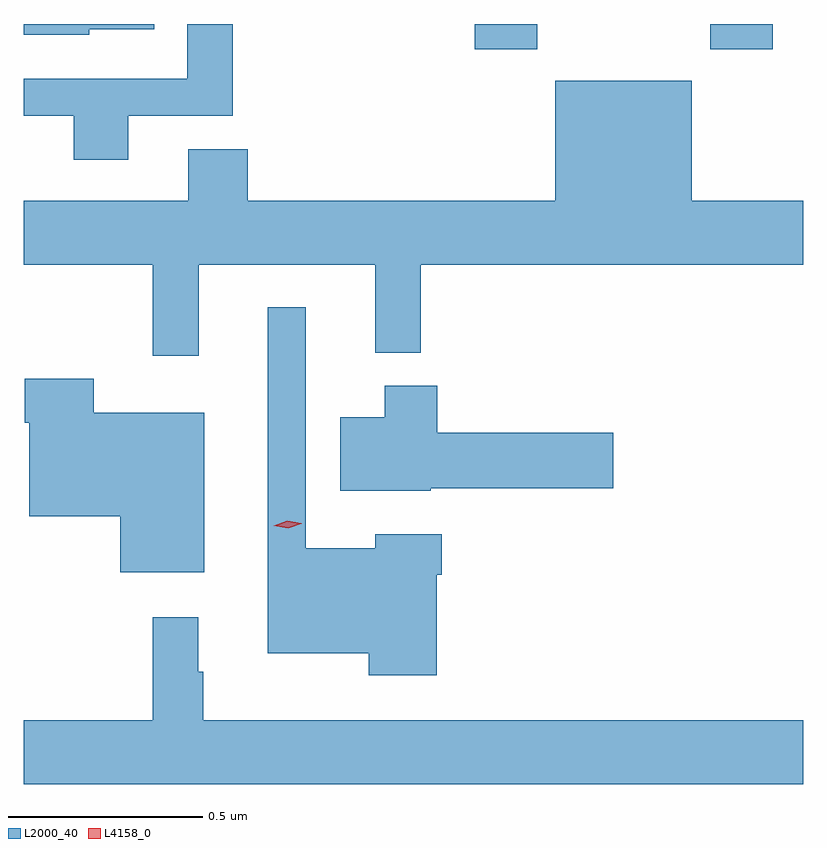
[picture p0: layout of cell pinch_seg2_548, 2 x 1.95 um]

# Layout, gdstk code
import gdstk
lib = gdstk.Library(unit=1e-6, precision=1e-09)
def R(c, l, rs):  # rectangles x0, y0, x1, y1
    for r in rs: c.add(gdstk.rectangle(r[:2], r[2:], *l))
def P(c, l, *ps):  # polygons
    for p in ps: c.add(gdstk.Polygon(p, *l))
L2000_40 = (2000, 40)
L4158_0 = (4158, 0)

pinch_seg2_548 = lib.new_cell('pinch_seg2_548')
R(pinch_seg2_548, L2000_40, [(1121.753,622.881,1121.913,622.946), (1122.358,622.881,1122.518,622.946)])
P(pinch_seg2_548, L2000_40, [(1120.864,622.71),(1121.132,622.71),(1121.132,622.946),(1121.016,622.946),(1121.016,622.806),(1120.596,622.806),(1120.596,622.71),(1120.724,622.71),(1120.724,622.598),(1120.864,622.598)],
  [(1120.764,622.932),(1120.931,622.932),(1120.931,622.946),(1120.596,622.946),(1120.596,622.919),(1120.764,622.919)],
  [(1121.045,622.328),(1121.498,622.328),(1121.498,622.103),(1121.615,622.103),(1121.615,622.328),(1122.596,622.328),(1122.596,622.492),(1122.31,622.492),(1122.31,622.801),(1121.96,622.801),(1121.96,622.492),(1121.171,622.492),(1121.171,622.625),(1121.018,622.625),(1121.018,622.492),(1120.596,622.492),(1120.596,622.328),(1120.927,622.328),(1120.927,622.095),(1121.045,622.095)],
  [(1121.656,621.533),(1121.669,621.533),(1121.669,621.637),(1121.498,621.637),(1121.498,621.601),(1121.319,621.601),(1121.319,622.219),(1121.222,622.219),(1121.222,621.332),(1121.481,621.332),(1121.481,621.275),(1121.656,621.275)],
  [(1121.059,621.949),(1120.776,621.949),(1120.776,622.036),(1120.598,622.036),(1120.598,621.923),(1120.61,621.923),(1120.61,621.683),(1120.844,621.683),(1120.844,621.539),(1121.059,621.539)],
  [(1121.64,621.755),(1122.109,621.755),(1122.109,621.897),(1121.657,621.897),(1121.657,622.018),(1121.522,622.018),(1121.522,621.937),(1121.408,621.937),(1121.408,621.749),(1121.64,621.749)],
  [(1122.596,621.16),(1121.056,621.16),(1121.056,621.284),(1121.044,621.284),(1121.044,621.424),(1120.927,621.424),(1120.927,621.16),(1120.596,621.16),(1120.596,620.996),(1122.596,620.996)])
P(pinch_seg2_548, L4158_0, [(1121.274,621.652),(1121.238,621.659),(1121.238,621.659),(1121.238,621.659),(1121.272,621.672),(1121.308,621.665),(1121.309,621.664),(1121.308,621.664)])

lib.write_gds('pinch_seg2_548.gds')
